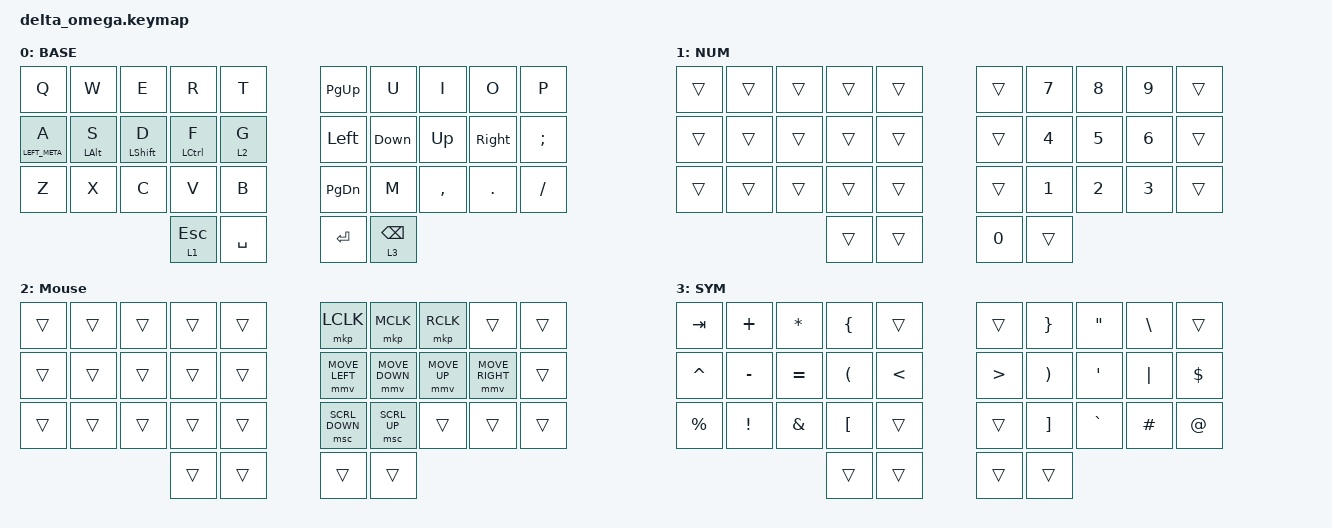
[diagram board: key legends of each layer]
#include <behaviors.dtsi>
#include <dt-bindings/zmk/keys.h>
#include <dt-bindings/zmk/pointing.h>

&mt {
    quick-tap-ms = <175>;
    require-prior-idle-ms = <150>;
    flavor = "balanced";
};

/ {
    combos {
        compatible = "zmk,combos";

        L_Shift {
            bindings = <&kp LSHFT>;
            key-positions = <13 12>;
        };

        R_Shift {
            bindings = <&kp RSHIFT>;
            key-positions = <16 17>;
        };

        L_Ctrl {
            bindings = <&kp LCTRL>;
            key-positions = <12 11>;
        };

        R_Ctrl {
            bindings = <&kp RCTRL>;
            key-positions = <17 18>;
        };

        L_Gui {
            bindings = <&kp LEFT_GUI>;
            key-positions = <10 11>;
            timeout-ms = <70>;
        };

        R_Gui {
            bindings = <&kp RGUI>;
            key-positions = <19 18>;
            timeout-ms = <70>;
        };

        L_Alt {
            bindings = <&kp LALT>;
            key-positions = <10 13>;
        };

        R_Alt {
            bindings = <&kp RALT>;
            key-positions = <16 19>;
        };

        L_Gui_Ctrl {
            bindings = <&kp LG(RCTRL)>;
            key-positions = <10 11 12>;
        };

        R_Gui_Ctrl {
            bindings = <&kp RG(RCTRL)>;
            key-positions = <19 18 17>;
        };

        L_Ctrl_Shift {
            bindings = <&kp LC(LSHIFT)>;
            key-positions = <11 12 13>;
        };

        R_Ctrl_Shift {
            bindings = <&kp RC(RSHIFT)>;
            key-positions = <18 17 16>;
        };

        L_Gui_Alt {
            bindings = <&kp LG(LALT)>;
            key-positions = <10 11 13>;
        };

        R_Gui_Alt {
            bindings = <&kp LG(LALT)>;
            key-positions = <16 19 18>;
        };

        L_Alt_Shift {
            bindings = <&kp LA(LSHIFT)>;
            key-positions = <10 13 12>;
        };

        R_Alt_Shift {
            bindings = <&kp RA(RSHIFT)>;
            key-positions = <19 17 16>;
        };

        L_Gui_Shift {
            bindings = <&kp LG(LSHIFT)>;
            key-positions = <10 12>;
        };

        R_Gui_Shift {
            bindings = <&kp RG(RSHIFT)>;
            key-positions = <19 17>;
        };

        L_Ctrl_Alt {
            bindings = <&kp LC(LALT)>;
            key-positions = <11 13>;
        };

        R_Ctrl_Alt {
            bindings = <&kp RC(RALT)>;
            key-positions = <18 16>;
        };

        L_Gui_Ctrl_Shift {
            bindings = <&kp LG(LC(LEFT_SHIFT))>;
            key-positions = <20 21 22>;
        };

        R_Gui_Ctrl_Shift {
            bindings = <&kp RC(RG(RSHIFT))>;
            key-positions = <29 28 27>;
        };

        L_Ctrl_Shift_Alt {
            bindings = <&kp LC(LS(LALT))>;
            key-positions = <21 22 23>;
        };

        R_Ctrl_Shift_Alt {
            bindings = <&kp RS(RC(RALT))>;
            key-positions = <28 27 26>;
        };

        L_Gui_Ctrl_Alt {
            bindings = <&kp LG(LC(LALT))>;
            key-positions = <20 21 23>;
        };

        R_Gui_Ctrl_Alt {
            bindings = <&kp RC(RG(RALT))>;
            key-positions = <29 28 26>;
        };

        L_Gui_Shift_Alt {
            bindings = <&kp LG(LS(LALT))>;
            key-positions = <20 22 23>;
        };

        R_Gui_Shift_Alt {
            bindings = <&kp RS(RG(RALT))>;
            key-positions = <29 27 26>;
        };

        L_All_Mod {
            bindings = <&kp LS(LA(LC(LGUI)))>;
            key-positions = <20 21 22 23>;
        };

        R_All_Mods {
            bindings = <&kp RS(RA(RC(RGUI)))>;
            key-positions = <26 27 29 28>;
        };
    };

    behaviors {
        Down: Down {
            compatible = "zmk,behavior-mod-morph";
            label = "DOWN";
            bindings = <&mt RCTRL J>, <&kp DOWN_ARROW>;

            #binding-cells = <0>;
            mods = <(MOD_LCTL|MOD_RCTL)>;
        };

        Up: Up {
            compatible = "zmk,behavior-mod-morph";
            label = "UP";
            bindings = <&mt RIGHT_SHIFT K>, <&kp UP_ARROW>;

            #binding-cells = <0>;
            mods = <(MOD_LCTL|MOD_RCTL)>;
        };

        Left: Left {
            compatible = "zmk,behavior-mod-morph";
            label = "LEFT";
            bindings = <&kp H>, <&kp LEFT_ARROW>;

            #binding-cells = <0>;
            mods = <(MOD_LCTL|MOD_RCTL)>;
        };

        Right: Right {
            compatible = "zmk,behavior-mod-morph";
            label = "RIGHT";
            bindings = <&mt RIGHT_ALT L>, <&kp RIGHT_ARROW>;

            #binding-cells = <0>;
            mods = <(MOD_LCTL|MOD_RCTL)>;
        };

        PgUp: PgUp {
            compatible = "zmk,behavior-mod-morph";
            label = "PGUP";
            bindings = <&kp Y>, <&kp PAGE_UP>;

            #binding-cells = <0>;
            mods = <(MOD_LCTL|MOD_RCTL)>;
        };

        PgDn: PgDn {
            compatible = "zmk,behavior-mod-morph";
            label = "PGDN";
            bindings = <&kp N>, <&kp PAGE_DOWN>;

            #binding-cells = <0>;
            mods = <(MOD_LCTL|MOD_RCTL)>;
        };

        StickyLayer: StickyLayer {
            compatible = "zmk,behavior-tap-dance";
            label = "STICKYLAYER";
            #binding-cells = <0>;
            bindings = <&tog 2>, <&tog 3>;
        };

        SemiColon: SemiColon {
            compatible = "zmk,behavior-mod-morph";
            label = "SEMICOLON";
            bindings = <&mt RIGHT_META SEMI>, <&kp ESCAPE>;

            #binding-cells = <0>;
            mods = <(MOD_LCTL|MOD_RCTL)>;
        };
    };

    keymap {
        compatible = "zmk,keymap";

        BASE {
            bindings = <
&kp Q            &kp W           &kp E             &kp R         &kp T      &PgUp    &kp U            &kp I      &kp O    &kp P
&mt LEFT_META A  &mt LEFT_ALT S  &mt LEFT_SHIFT D  &mt LCTRL F   &lt 2 G    &Left    &Down            &Up        &Right   &kp SEMI
&kp Z            &kp X           &kp C             &kp V         &kp B      &PgDn    &kp M            &kp COMMA  &kp DOT  &kp SLASH
                                                   &lt 1 ESCAPE  &kp SPACE  &kp RET  &lt 3 BACKSPACE
            >;
        };

        NUM {
            bindings = <
&trans  &trans  &trans  &trans  &trans  &trans  &kp N7        &kp N8        &kp N9        &trans
&trans  &trans  &trans  &trans  &trans  &trans  &kp NUMBER_4  &kp N5        &kp NUMBER_6  &trans
&trans  &trans  &trans  &trans  &trans  &trans  &kp NUMBER_1  &kp NUMBER_2  &kp NUMBER_3  &trans
                        &trans  &trans  &kp N0  &trans
            >;
        };

        Mouse {
            bindings = <
&trans  &trans  &trans  &trans  &trans  &mkp LCLK       &mkp MCLK       &mkp RCLK     &trans           &trans
&trans  &trans  &trans  &trans  &trans  &mmv MOVE_LEFT  &mmv MOVE_DOWN  &mmv MOVE_UP  &mmv MOVE_RIGHT  &trans
&trans  &trans  &trans  &trans  &trans  &msc SCRL_DOWN  &msc SCRL_UP    &trans        &trans           &trans
                        &trans  &trans  &trans          &trans
            >;
        };

        SYM {
            bindings = <
&kp TAB      &kp PLUS   &kp ASTRK  &kp LEFT_BRACE        &trans  &trans  &kp RIGHT_BRACE        &kp DOUBLE_QUOTES  &kp BACKSLASH  &trans
&kp CARET    &kp MINUS  &kp EQUAL  &kp LEFT_PARENTHESIS  &kp LT  &kp GT  &kp RIGHT_PARENTHESIS  &kp APOS           &kp PIPE       &kp DOLLAR
&kp PERCENT  &kp EXCL   &kp AMPS   &kp LEFT_BRACKET      &trans  &trans  &kp RIGHT_BRACKET      &kp GRAVE          &kp HASH       &kp AT
                                   &trans                &trans  &trans  &trans
            >;
        };
    };

    conditional_layers {
        compatible = "zmk,conditional-layers";

        num_adjust {
            if-layers = <1 3>;
            then-layer = <5>;
        };
    };
};
